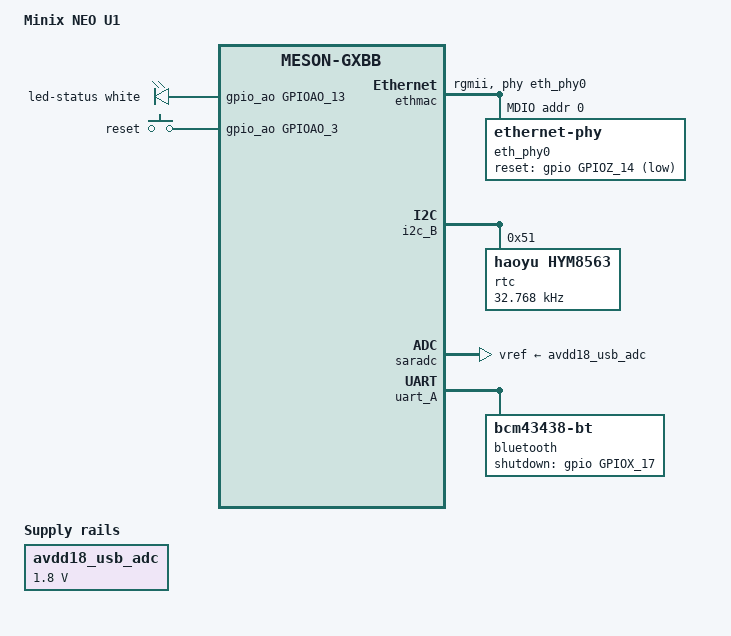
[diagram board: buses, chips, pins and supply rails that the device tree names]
// SPDX-License-Identifier: (GPL-2.0+ OR MIT)
/*
 * Copyright (c) 2021 Christian Hewitt <christianshewitt@gmail.com>
 */

/dts-v1/;

#include "meson-gxbb-p20x.dtsi"
#include <dt-bindings/gpio/gpio.h>
#include <dt-bindings/input/input.h>
#include <dt-bindings/leds/common.h>

/ {
	compatible = "minix,neo-u1", "amlogic,meson-gxbb";
	model = "Minix NEO U1";

	leds {
		compatible = "gpio-leds";

		led-status {
			color = <LED_COLOR_ID_WHITE>;
			function = LED_FUNCTION_STATUS;
			gpios = <&gpio_ao GPIOAO_13 GPIO_ACTIVE_HIGH>;
			default-state = "on";
		};
	};

	gpio-keys-polled {
		compatible = "gpio-keys-polled";
		#address-cells = <1>;
		#size-cells = <0>;
		poll-interval = <20>;

		button-reset {
			label = "reset";
			linux,code = <KEY_POWER>;
			gpios = <&gpio_ao GPIOAO_3 GPIO_ACTIVE_HIGH>;
		};
	};

	avdd18_usb_adc: regulator-avdd18_usb_adc {
		compatible = "regulator-fixed";
		regulator-name = "AVDD18_USB_ADC";
		regulator-min-microvolt = <1800000>;
		regulator-max-microvolt = <1800000>;
	};
};

&ethmac {
	status = "okay";
	pinctrl-0 = <&eth_rgmii_pins>;
	pinctrl-names = "default";

	phy-handle = <&eth_phy0>;
	phy-mode = "rgmii";

	amlogic,tx-delay-ns = <2>;

	mdio {
		compatible = "snps,dwmac-mdio";
		#address-cells = <1>;
		#size-cells = <0>;

		eth_phy0: ethernet-phy@0 {
			/* Realtek RTL8211F (0x001cc916) */
			reg = <0>;

			reset-assert-us = <10000>;
			reset-deassert-us = <80000>;
			reset-gpios = <&gpio GPIOZ_14 GPIO_ACTIVE_LOW>;

			interrupt-parent = <&gpio_intc>;
			/* MAC_INTR on GPIOZ_15 */
			interrupts = <29 IRQ_TYPE_LEVEL_LOW>;
		};
	};
};

&ir {
	linux,rc-map-name = "rc-minix-neo";
};

&i2c_B {
	status = "okay";
	pinctrl-0 = <&i2c_b_pins>;
	pinctrl-names = "default";

	rtc: rtc@51 {
		status = "okay";
		compatible = "haoyu,hym8563";
		reg = <0x51>;
		#clock-cells = <0>;
		clock-frequency = <32768>;
		clock-output-names = "xin32k";
		wakeup-source;
	};
};

&saradc {
	status = "okay";
	vref-supply = <&avdd18_usb_adc>;
};

/* This is connected to the Bluetooth module: */
&uart_A {
	status = "okay";
	pinctrl-0 = <&uart_a_pins>, <&uart_a_cts_rts_pins>;
	pinctrl-names = "default";
	uart-has-rtscts;

	bluetooth {
		compatible = "bcm43438-bt";
		shutdown-gpios = <&gpio GPIOX_17 GPIO_ACTIVE_HIGH>;
		max-speed = <2000000>;
		clocks = <&wifi32k>;
		clock-names = "lpo";
	};
};
